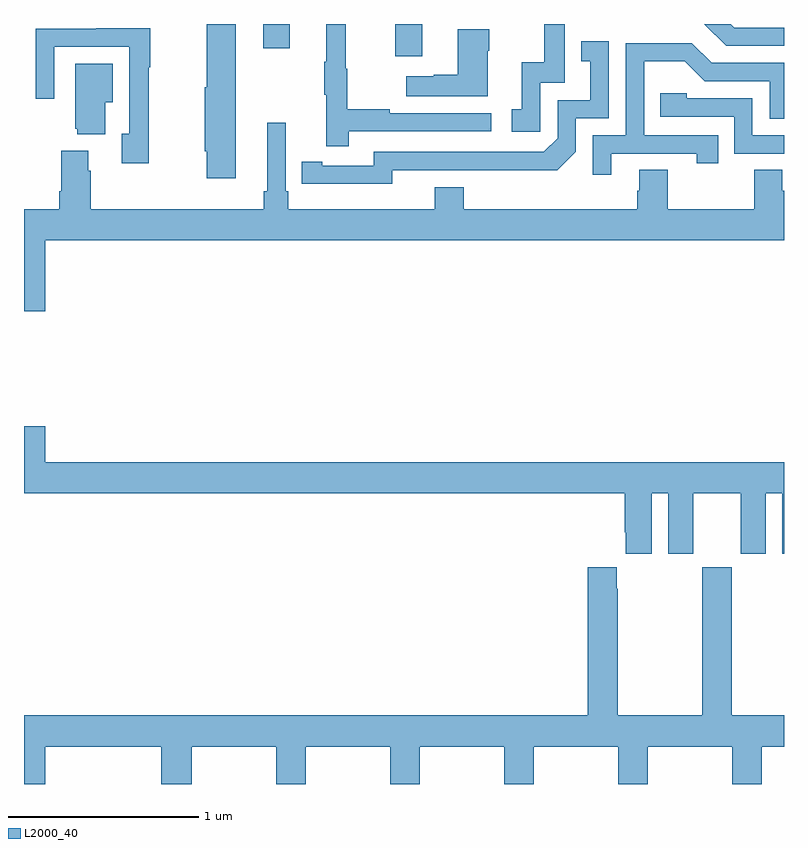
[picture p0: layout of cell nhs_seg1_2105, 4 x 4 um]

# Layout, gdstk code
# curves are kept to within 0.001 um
import gdstk
lib = gdstk.Library(unit=1e-6, precision=1e-09)
def R(c, l, rs):  # rectangles x0, y0, x1, y1
    for r in rs: c.add(gdstk.rectangle(r[:2], r[2:], *l))
def P(c, l, *ps):  # polygons
    for p in ps: c.add(gdstk.Polygon(p, *l))
L2000_40 = (2000, 40)

nhs_seg1_2105 = lib.new_cell('nhs_seg1_2105')
R(nhs_seg1_2105, L2000_40, [(226.955,558.03,227.095,558.199), (226.259,558.072,226.399,558.199)])
P(nhs_seg1_2105, L2000_40, [(226.709,557.634),(227.458,557.634),(227.458,557.73),(226.925,557.73),(226.925,557.75),(226.702,557.75),(226.702,557.964),(226.694,557.964),(226.694,558.199),(226.592,558.199),(226.592,558.001),(226.581,558.001),(226.581,557.827),(226.592,557.827),(226.592,557.556),(226.709,557.556)],
  [(226.114,558.199),(225.961,558.199),(225.961,557.865),(225.95,557.865),(225.95,557.529),(225.961,557.529),(225.961,557.388),(226.114,557.388)],
  [(229,558.18),(228.738,558.18),(228.719,558.199),(228.581,558.199),(228.696,558.084),(229,558.084)],
  [(227.718,557.889),(227.847,557.889),(227.847,558.199),(227.739,558.199),(227.739,557.998),(227.621,557.998),(227.621,557.751),(227.568,557.751),(227.568,557.631),(227.718,557.631)],
  [(225.656,557.971),(225.664,557.971),(225.664,558.176),(225.379,558.176),(225.379,558.174),(225.063,558.174),(225.063,557.805),(225.159,557.805),(225.159,558.078),(225.555,558.078),(225.555,557.622),(225.515,557.622),(225.515,557.466),(225.656,557.466)],
  [(227.44,558.059),(227.448,558.059),(227.448,558.172),(227.282,558.172),(227.282,557.933),(227.156,557.933),(227.156,557.923),(227.013,557.923),(227.013,557.819),(227.44,557.819)],
  [(226.938,557.43),(227.806,557.429),(227.904,557.526),(227.904,557.703),(228.078,557.703),(228.078,558.109),(227.932,558.109),(227.932,558.003),(227.981,558.003),(227.981,557.799),(227.808,557.799),(227.808,557.598),(227.736,557.526),(226.842,557.526),(226.842,557.454),(226.57,557.454),(226.57,557.474),(226.462,557.474),(226.462,557.358),(226.938,557.357)],
  [(228.091,557.517),(228.542,557.517),(228.542,557.466),(228.653,557.466),(228.653,557.613),(228.264,557.613),(228.264,558.002),(228.478,558.002),(228.582,557.898),(228.924,557.898),(228.924,557.7),(229,557.7),(229,557.994),(228.619,557.994),(228.514,558.099),(228.168,558.099),(228.168,557.613),(227.994,557.613),(227.994,557.406),(228.091,557.406)],
  [(225.427,557.786),(225.466,557.786),(225.466,557.989),(225.269,557.989),(225.269,557.649),(225.281,557.649),(225.281,557.618),(225.427,557.618)],
  [(229,557.613),(228.834,557.613),(228.834,557.808),(228.489,557.808),(228.489,557.835),(228.349,557.835),(228.349,557.712),(228.738,557.712),(228.738,557.517),(229,557.517)],
  [(225.112,557.06),(229,557.06),(229,557.322),(228.991,557.322),(228.991,557.432),(228.844,557.432),(228.844,557.224),(228.387,557.224),(228.387,557.432),(228.239,557.432),(228.239,557.322),(228.227,557.322),(228.227,557.224),(227.315,557.224),(227.315,557.341),(227.162,557.341),(227.162,557.224),(226.391,557.224),(226.391,557.32),(226.377,557.32),(226.377,557.68),(226.28,557.68),(226.28,557.32),(226.261,557.32),(226.261,557.224),(225.35,557.224),(225.35,557.426),(225.337,557.426),(225.337,557.533),(225.197,557.533),(225.197,557.32),(225.185,557.32),(225.185,557.224),(225,557.224),(225,556.686),(225.112,556.686)],
  [(228.304,555.728),(228.392,555.728),(228.392,555.411),(228.523,555.411),(228.523,555.728),(228.773,555.728),(228.773,555.411),(228.904,555.411),(228.904,555.728),(228.992,555.728),(228.992,555.411),(229,555.411),(229,555.892),(225.112,555.892),(225.112,556.081),(225,556.081),(225,555.728),(228.161,555.728),(228.161,555.523),(228.167,555.523),(228.167,555.411),(228.304,555.411)],
  [(225.112,554.396),(225.722,554.396),(225.722,554.199),(225.882,554.199),(225.882,554.396),(226.327,554.396),(226.327,554.199),(226.482,554.199),(226.482,554.396),(226.927,554.396),(226.927,554.199),(227.082,554.199),(227.082,554.396),(227.527,554.396),(227.527,554.199),(227.682,554.199),(227.682,554.396),(228.127,554.396),(228.127,554.199),(228.282,554.199),(228.282,554.396),(228.727,554.396),(228.727,554.199),(228.882,554.199),(228.882,554.396),(229,554.396),(229,554.56),(228.726,554.56),(228.726,555.34),(228.571,555.34),(228.571,554.56),(228.126,554.56),(228.126,555.227),(228.121,555.227),(228.121,555.34),(227.966,555.34),(227.966,554.56),(225,554.56),(225,554.199),(225.112,554.199)])

lib.write_gds('nhs_seg1_2105.gds')
